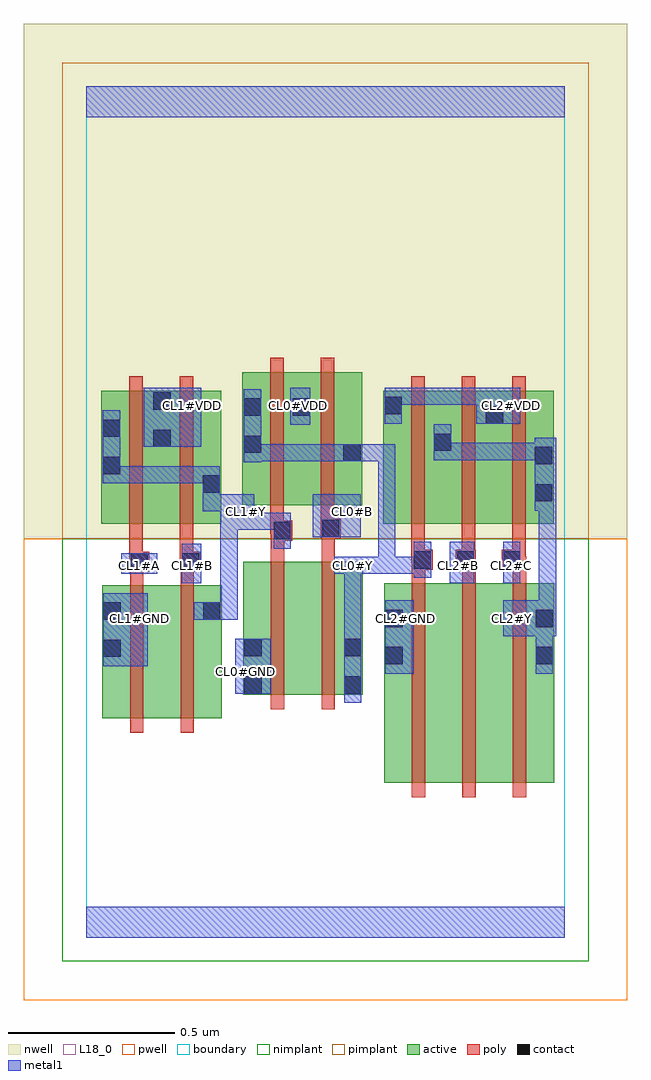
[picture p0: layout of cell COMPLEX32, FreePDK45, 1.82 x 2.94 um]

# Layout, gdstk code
import gdstk
lib = gdstk.Library(unit=1e-6, precision=1e-09)
def R(c, l, rs):  # rectangles x0, y0, x1, y1
    for r in rs: c.add(gdstk.rectangle(r[:2], r[2:], *l))
def A(c, l, x, y, w, h, nx, ny, dx, dy):  # array of equal rectangles
    R(c, l, [(x+i*dx, y+j*dy, x+i*dx+w, y+j*dy+h) for i in range(nx) for j in range(ny)])
active = (1, 0)
pwell = (2, 0)
nwell = (3, 0)
nimplant = (4, 0)
pimplant = (5, 0)
poly = (9, 0)
contact = (10, 0)
metal1 = (11, 0)
L18_0 = (18, 0)
boundary = (235, 0)

complex32 = lib.new_cell('COMPLEX32')
R(complex32, active, [(0.896,0.466,1.076,1.066), (1.076,0.466,1.228,1.066), (1.228,0.466,1.408,1.066), (0.896,0.556,0.956,1.066), (1.348,0.556,1.408,1.066), (0.048,0.66,0.228,1.06), (0.228,0.66,0.408,1.06), (0.048,0.704,0.108,1.06), (0.348,0.704,0.408,1.06), (0.472,0.73,0.532,1.13), (0.472,0.73,0.652,1.13), (0.652,0.73,0.832,1.13), (0.772,0.73,0.832,1.13), (0.046,1.244,0.106,1.644), (0.046,1.244,0.258,1.644), (0.198,1.244,0.406,1.644), (0.346,1.244,0.406,1.644), (0.894,1.244,0.954,1.644), (0.894,1.244,1.102,1.644), (1.042,1.244,1.102,1.644), (1.042,1.244,1.258,1.644), (1.198,1.244,1.406,1.644), (1.346,1.244,1.406,1.644), (0.47,1.3,0.53,1.7), (0.47,1.3,0.678,1.7), (0.618,1.3,0.678,1.644), (0.618,1.3,0.83,1.7), (0.77,1.3,0.83,1.644), (0.198,1.348,0.258,1.644), (1.198,1.352,1.258,1.644)])
R(complex32, pwell, [(-0.188,-0.188,1.628,1.2)])
R(complex32, nwell, [(-0.188,1.2,1.628,2.748)])
R(complex32, nimplant, [(-0.072,-0.072,1.512,1.2)])
R(complex32, pimplant, [(-0.072,1.2,1.512,2.632)])
A(complex32, poly, 0.98, 0.422, 0.04, 0.688, 3, 1, 0.152, 0)
A(complex32, poly, 0.98, 1.07, 0.04, 0.076, 3, 1, 0.152, 0)
A(complex32, poly, 0.978, 1.126, 0.04, 0.114, 3, 1, 0.152, 0)
A(complex32, poly, 0.978, 1.2, 0.04, 0.488, 3, 1, 0.152, 0)
R(complex32, poly, [(0.132,0.616,0.172,1.104), (0.284,0.616,0.324,1.104), (0.556,0.686,0.596,1.174), (0.708,0.686,0.748,1.174), (0.132,1.064,0.172,1.14), (0.284,1.064,0.324,1.14), (0.13,1.1,0.19,1.16), (0.284,1.1,0.344,1.16), (0.98,1.106,1.042,1.166), (1.112,1.106,1.172,1.166), (1.25,1.106,1.322,1.166), (1.282,1.106,1.322,1.146), (1.282,1.106,1.324,1.146), (0.13,1.12,0.17,1.16), (0.13,1.12,0.17,1.16), (0.13,1.12,0.17,1.24), (0.282,1.12,0.324,1.16), (0.282,1.12,0.322,1.24), (0.284,1.12,0.324,1.16), (0.978,1.126,1.02,1.166), (0.98,1.126,1.02,1.166), (1.13,1.126,1.17,1.166), (1.13,1.126,1.17,1.166), (0.556,1.134,0.596,1.234), (0.708,1.134,0.748,1.24), (0.556,1.194,0.62,1.254), (0.13,1.2,0.17,1.688), (0.282,1.2,0.322,1.688), (0.706,1.2,0.766,1.26), (0.708,1.2,0.748,1.24), (0.708,1.2,0.748,1.24), (0.554,1.214,0.596,1.254), (0.554,1.214,0.594,1.296), (0.556,1.214,0.596,1.254), (0.706,1.22,0.746,1.296), (0.554,1.256,0.594,1.744), (0.706,1.256,0.746,1.744)])
R(complex32, contact, [(0.476,0.734,0.528,0.786), (0.776,0.734,0.828,0.786), (0.9,0.822,0.952,0.874), (1.352,0.822,1.404,0.874), (0.052,0.844,0.104,0.896), (0.476,0.846,0.528,0.898), (0.776,0.846,0.828,0.898), (0.9,0.934,0.952,0.986), (1.352,0.934,1.404,0.986), (0.052,0.956,0.104,1.008), (0.352,0.956,0.404,1.008), (0.134,1.104,0.186,1.156), (0.288,1.104,0.34,1.156), (0.986,1.11,1.038,1.162), (1.116,1.11,1.168,1.162), (1.254,1.11,1.306,1.162), (0.564,1.198,0.616,1.25), (0.71,1.204,0.762,1.256), (1.35,1.312,1.402,1.364), (0.35,1.338,0.402,1.39), (0.05,1.394,0.102,1.446), (1.35,1.424,1.402,1.476), (0.774,1.432,0.826,1.484), (0.474,1.458,0.526,1.51), (1.046,1.464,1.098,1.516), (0.202,1.476,0.254,1.528), (0.05,1.506,0.102,1.558), (1.202,1.546,1.254,1.598), (0.474,1.57,0.526,1.622), (0.622,1.57,0.674,1.622), (0.898,1.574,0.95,1.626), (0.202,1.588,0.254,1.64)])
R(complex32, metal1, [(0,0,1.44,0.092), (0.776,0.706,0.828,0.926), (0.448,0.734,0.556,0.898), (0.9,0.794,0.986,1.014), (1.352,0.794,1.404,1.014), (0.052,0.816,0.186,1.036), (0.776,0.874,0.828,1.146), (1.254,0.906,1.414,1.014), (1.352,0.906,1.404,0.958), (0.324,0.956,0.456,1.008), (0.404,0.956,0.456,1.278), (1.362,0.962,1.414,1.336), (0.288,1.066,0.346,1.184), (1.094,1.066,1.168,1.19), (1.254,1.066,1.306,1.19), (0.986,1.082,1.038,1.19), (0.106,1.094,0.214,1.156), (0.746,1.094,0.93,1.146), (0.878,1.094,0.936,1.146), (0.878,1.094,0.93,1.484), (0.884,1.094,0.936,1.146), (0.884,1.094,1.038,1.146), (0.564,1.17,0.616,1.278), (0.682,1.204,0.826,1.334), (0.404,1.226,0.506,1.334), (0.454,1.226,0.506,1.278), (0.454,1.226,0.506,1.278), (0.454,1.226,0.616,1.278), (0.35,1.282,0.402,1.362), (0.35,1.282,0.456,1.334), (0.404,1.282,0.456,1.334), (1.35,1.284,1.414,1.504), (1.362,1.284,1.414,1.336), (1.362,1.284,1.414,1.336), (0.35,1.31,0.402,1.418), (0.05,1.366,0.102,1.418), (0.05,1.366,0.102,1.418), (0.05,1.366,0.102,1.586), (0.05,1.366,0.266,1.418), (0.214,1.366,0.266,1.418), (0.214,1.366,0.266,1.418), (0.214,1.366,0.266,1.418), (0.214,1.366,0.402,1.418), (0.474,1.43,0.526,1.65), (0.474,1.432,0.616,1.484), (0.564,1.432,0.616,1.484), (0.564,1.432,0.636,1.484), (0.584,1.432,0.636,1.484), (0.584,1.432,0.798,1.484), (0.746,1.432,0.798,1.484), (0.746,1.432,0.798,1.484), (0.746,1.432,0.93,1.484), (0.878,1.432,0.93,1.484), (0.878,1.432,0.93,1.484), (1.046,1.436,1.196,1.488), (1.046,1.436,1.098,1.544), (1.144,1.436,1.196,1.488), (1.144,1.436,1.202,1.488), (1.15,1.436,1.202,1.488), (1.15,1.436,1.402,1.488), (1.35,1.436,1.402,1.488), (1.35,1.436,1.402,1.488), (0.174,1.476,0.346,1.654), (0.614,1.542,0.674,1.654), (0.898,1.546,0.95,1.654), (1.174,1.546,1.306,1.654), (0.898,1.602,1.038,1.654), (0.986,1.602,1.038,1.654), (0.986,1.602,1.06,1.654), (1.008,1.602,1.06,1.654), (1.008,1.602,1.196,1.654), (1.144,1.602,1.196,1.654), (1.144,1.602,1.226,1.654), (0,2.468,1.44,2.56)])
R(complex32, L18_0, [(0,0,1.44,0.092), (0.776,0.706,0.828,0.926), (0.448,0.734,0.556,0.898), (0.454,0.774,0.506,0.826), (0.9,0.794,0.986,1.014), (1.352,0.794,1.404,1.014), (0.052,0.816,0.186,1.036), (0.776,0.874,0.828,1.146), (1.254,0.906,1.414,1.014), (1.352,0.906,1.404,0.958), (0.134,0.934,0.186,0.986), (0.934,0.934,0.986,0.986), (1.254,0.934,1.306,0.986), (0.324,0.956,0.456,1.008), (0.404,0.956,0.456,1.278), (1.362,0.962,1.414,1.336), (0.288,1.066,0.346,1.184), (1.094,1.066,1.168,1.19), (1.254,1.066,1.306,1.19), (0.986,1.082,1.038,1.19), (0.106,1.094,0.214,1.156), (0.134,1.094,0.186,1.146), (0.294,1.094,0.346,1.146), (0.746,1.094,0.93,1.146), (0.774,1.094,0.826,1.146), (0.878,1.094,0.93,1.484), (0.878,1.094,0.936,1.146), (0.884,1.094,0.936,1.146), (0.884,1.094,1.038,1.146), (1.094,1.094,1.146,1.146), (1.254,1.094,1.306,1.146), (0.564,1.17,0.616,1.278), (0.682,1.204,0.826,1.334), (0.404,1.226,0.506,1.334), (0.454,1.226,0.506,1.278), (0.454,1.226,0.506,1.278), (0.454,1.226,0.616,1.278), (0.454,1.254,0.506,1.306), (0.774,1.254,0.826,1.306), (0.35,1.282,0.456,1.334), (0.35,1.282,0.402,1.362), (0.404,1.282,0.456,1.334), (1.35,1.284,1.414,1.504), (1.362,1.284,1.414,1.336), (1.362,1.284,1.414,1.336), (0.35,1.31,0.402,1.418), (0.05,1.366,0.102,1.586), (0.05,1.366,0.102,1.418), (0.05,1.366,0.102,1.418), (0.05,1.366,0.266,1.418), (0.214,1.366,0.266,1.418), (0.214,1.366,0.266,1.418), (0.214,1.366,0.266,1.418), (0.214,1.366,0.402,1.418), (0.474,1.43,0.526,1.65), (0.474,1.432,0.616,1.484), (0.564,1.432,0.616,1.484), (0.564,1.432,0.636,1.484), (0.584,1.432,0.636,1.484), (0.584,1.432,0.798,1.484), (0.746,1.432,0.798,1.484), (0.746,1.432,0.798,1.484), (0.746,1.432,0.93,1.484), (0.878,1.432,0.93,1.484), (0.878,1.432,0.93,1.484), (1.046,1.436,1.098,1.544), (1.046,1.436,1.196,1.488), (1.144,1.436,1.196,1.488), (1.144,1.436,1.202,1.488), (1.15,1.436,1.202,1.488), (1.15,1.436,1.402,1.488), (1.35,1.436,1.402,1.488), (1.35,1.436,1.402,1.488), (0.174,1.476,0.346,1.654), (0.614,1.542,0.674,1.654), (0.898,1.546,0.95,1.654), (1.174,1.546,1.306,1.654), (0.294,1.574,0.346,1.626), (0.614,1.574,0.666,1.626), (1.254,1.574,1.306,1.626), (0.898,1.602,1.038,1.654), (0.986,1.602,1.038,1.654), (0.986,1.602,1.06,1.654), (1.008,1.602,1.06,1.654), (1.008,1.602,1.196,1.654), (1.144,1.602,1.196,1.654), (1.144,1.602,1.226,1.654), (0,2.468,1.44,2.56)])
R(complex32, boundary, [(0,0,1.44,2.56)])
complex32.add(gdstk.Label('CL0#B', (0.8,1.28), layer=11, texttype=0))
complex32.add(gdstk.Label('CL0#GND', (0.48,0.8), layer=11, texttype=0))
complex32.add(gdstk.Label('CL0#VDD', (0.64,1.6), layer=11, texttype=0))
complex32.add(gdstk.Label('CL0#Y', (0.8,1.12), layer=11, texttype=0))
complex32.add(gdstk.Label('CL1#A', (0.16,1.12), layer=11, texttype=0))
complex32.add(gdstk.Label('CL1#B', (0.32,1.12), layer=11, texttype=0))
complex32.add(gdstk.Label('CL1#GND', (0.16,0.96), layer=11, texttype=0))
complex32.add(gdstk.Label('CL1#VDD', (0.32,1.6), layer=11, texttype=0))
complex32.add(gdstk.Label('CL1#Y', (0.48,1.28), layer=11, texttype=0))
complex32.add(gdstk.Label('CL2#B', (1.12,1.12), layer=11, texttype=0))
complex32.add(gdstk.Label('CL2#C', (1.28,1.12), layer=11, texttype=0))
complex32.add(gdstk.Label('CL2#GND', (0.96,0.96), layer=11, texttype=0))
complex32.add(gdstk.Label('CL2#VDD', (1.28,1.6), layer=11, texttype=0))
complex32.add(gdstk.Label('CL2#Y', (1.28,0.96), layer=11, texttype=0))

lib.write_gds('COMPLEX32.gds')
